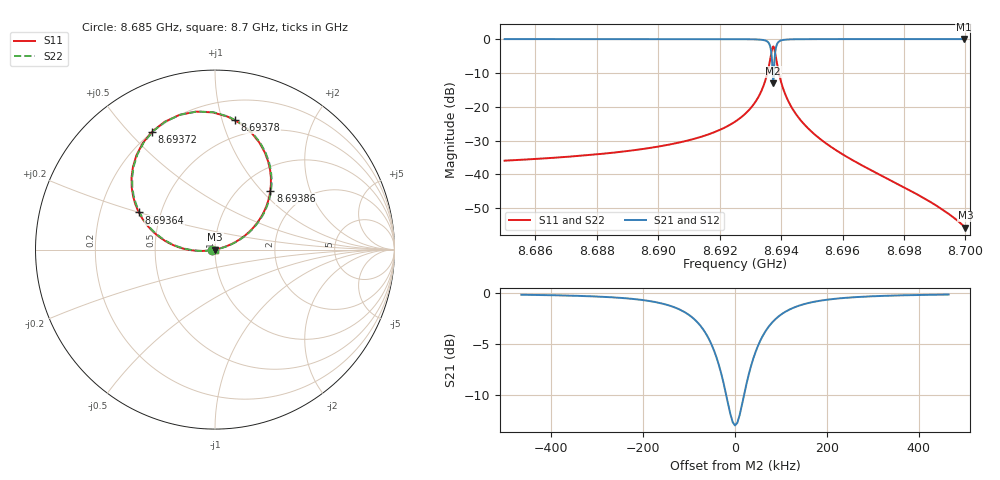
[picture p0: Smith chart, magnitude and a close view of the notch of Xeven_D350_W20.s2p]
! Sonnet Data File
! From: emgraph Version : 16.52
! From Project: Qubit_Xmon2_brg_para
! Data is De-embedded
! Data File Written: 10/25/2017 20:11:04
!< HDATE 10/25/2017 15:55:44
!< MDATE 10/25/2017 15:55:44
!< PARAMS
!< Lj = 11.0
!< Gap = 6.0
!< Pwid = 2000.0
!< Airgap = 6.0
!< Width = 10.0
!< Bwid = 20.0
!< Dis1 = 350.0
!< Dis2 = 356.0
!< END PARAMS
# GHZ S MA R 51.80000
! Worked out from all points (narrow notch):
!   3001 points, 8.685 GHz to 8.7 GHz, reference 51.8 ohm
!   highest |S21| = 0.00 dB at 8.69995 GHz (marker M1); lowest = -13.1 dB at 8.69374 GHz (marker M2)
!   notch at M2: 13.1 dB deep, 78.2 kHz wide at half that depth
!   lowest |S11| = -55.7 dB at 8.7 GHz (marker M3), VSWR 1.00, Z = 52 + j0.0449 ohm
!   |S11| at or under -10 dB: start of sweep to 8.693554 GHz; 8.693926 GHz to end of sweep
!   |S22| runs from -55.7 to -2.2 dB; largest |S21 - S12| = 0
!   S11 on the Smith chart (normalised r, x): 8.685 GHz: 0.97, -0.01; 8.69364 GHz: 0.38, +0.20; 8.69372 GHz: 0.20, +0.58; 8.69378 GHz: 0.35, +1.10; 8.69386 GHz: 1.36, +1.12; 8.7 GHz: 1.00, +0.00
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8.685  0.016 -170.1  0.9999 -80.0  0.9999 -80.0  0.016 -170.0
!< P1 F=8.685 Eeff=(6.44683879 -2.9786e-5) Z0=(51.7993663 1.19075e-4) R=0.0 C=0.0
!< P2 F=8.685 Eeff=(6.44683879 -2.9786e-5) Z0=(51.7993663 1.19075e-4) R=0.0 C=0.0
8.6875  0.01894 -170.3  0.9998 -80.2  0.9998 -80.2  0.01894 -170.3
8.69  0.02582 -170.7  0.9996 -80.6  0.9996 -80.6  0.02582 -170.9
8.691485  0.03708 -171.5  0.9991 -81.3  0.9991 -81.3  0.03708 -171.8
8.6925  0.06016 -173.2  0.9974 -82.6  0.9974 -82.6  0.06016 -173.5
8.693245  0.1353 -178.7  0.9862 -86.9  0.9862 -86.9  0.1353 -179.2
8.693515  0.2705 171.0  0.942 -94.8  0.942 -94.8  0.2705 170.5
8.693635  0.472 154.0  0.8084 -106.9  0.8084 -106.9  0.472 153.5
8.693675  0.5961 141.3  0.6671 -114.4  0.6671 -114.4  0.5961 140.8
8.69372  0.7446 118.1  0.3611 -116.3  0.3611 -116.3  0.7446 117.6
8.693745  0.7775 101.3  0.2225 -80.1  0.2225 -80.1  0.7775 100.8
8.693775  0.7305 81.4  0.398 -40.9  0.398 -40.9  0.7305 80.8
8.69382  0.5734 58.9  0.6922 -45.4  0.6922 -45.4  0.5734 58.3
8.69386  0.4495 46.7  0.8239 -52.9  0.8239 -52.9  0.4494 46.1
8.69399  0.2414 29.5  0.9519 -65.2  0.9519 -65.2  0.2414 28.9
8.694255  0.1162 20.0  0.9887 -72.5  0.9887 -72.5  0.1162 19.4
8.695  0.04257 14.7  0.9983 -76.8  0.9983 -76.8  0.04256 13.9
8.695945  0.02059 13.2  0.9995 -78.0  0.9995 -78.0  0.02059 12.2
8.6975  0.008487 12.7  0.9999 -78.7  0.9999 -78.7  0.008485 11.0
8.699005  0.003583 13.3  0.9999 -79.0  0.9999 -79.0  0.003581 10.1
8.69995  0.001721 15.1  1 -79.1  1 -79.1  0.001717 8.8
8.7  0.001638 15.3  1 -79.1  1 -79.1  0.001634 8.7
